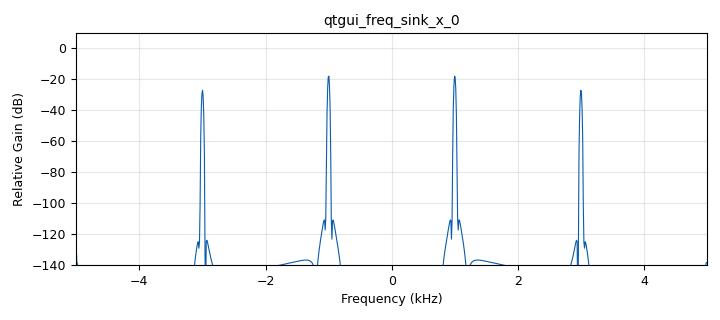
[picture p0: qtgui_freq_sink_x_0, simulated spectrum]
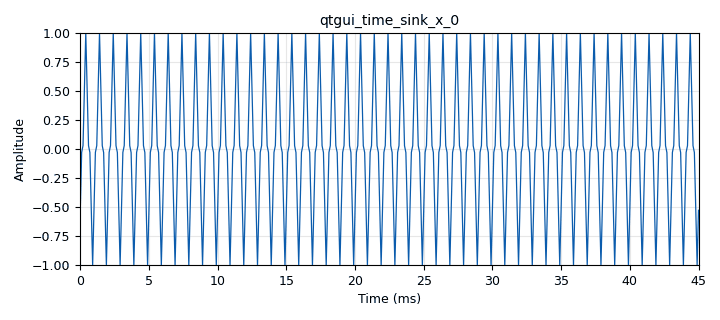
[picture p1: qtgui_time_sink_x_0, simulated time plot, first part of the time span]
options:
  parameters:
    author: Over_amaya_angie_chaparro_L1C_G4
    generate_options: qt_gui
    id: lab_p2_6
    output_language: python
    title: lab1_p2_6
  states: {}

blocks:
- name: freq_a
  id: variable_qtgui_range
  parameters:
    label: frequency_yA
    start: '1000'
    step: '1000'
    stop: '40000'
    value: '1000'
  states: {}
- name: freq_b
  id: variable_qtgui_range
  parameters:
    label: frequency_yB
    start: '1000'
    step: '1000'
    stop: '40000'
    value: '1000'
  states: {}
- name: freq_c
  id: variable_qtgui_range
  parameters:
    label: frequency_yC
    start: '1000'
    step: '1000'
    stop: '40000'
    value: '1000'
  states: {}
- name: samp_rate
  id: variable_qtgui_range
  parameters:
    label: frecuencia de muestreo
    start: '1000'
    step: '1000'
    stop: '80000'
    value: '10000'
  states: {}
- name: analog_sig_source_x_0
  id: analog_sig_source_x
  parameters:
    amp: '1'
    freq: freq_b
    offset: '0'
    phase: '0'
    samp_rate: samp_rate
    type: float
    waveform: analog.GR_COS_WAVE
  states: {}
- name: analog_sig_source_x_1
  id: analog_sig_source_x
  parameters:
    amp: '1'
    freq: freq_c
    offset: '0'
    phase: '0'
    samp_rate: samp_rate
    type: float
    waveform: analog.GR_COS_WAVE
  states: {}
- name: analog_sig_source_x_2
  id: analog_sig_source_x
  parameters:
    amp: '1'
    freq: freq_a
    offset: '0'
    phase: '0'
    samp_rate: samp_rate
    type: float
    waveform: analog.GR_COS_WAVE
  states: {}
- name: blocks_multiply_xx_0
  id: blocks_multiply_xx
  parameters:
    num_inputs: '3'
    type: float
  states: {}
- name: blocks_throttle_0
  id: blocks_throttle
  parameters:
    samples_per_second: samp_rate
    type: float
  states: {}
- name: qtgui_freq_sink_x_0
  id: qtgui_freq_sink_x
  parameters:
    bw: samp_rate
    fc: '0'
    fftsize: '1024'
    type: float
  states: {}
- name: qtgui_time_sink_x_0
  id: qtgui_time_sink_x
  parameters:
    size: '1024'
    srate: samp_rate
    type: float
  states: {}

connections:
- [analog_sig_source_x_0, '0', blocks_multiply_xx_0, '1']
- [analog_sig_source_x_1, '0', blocks_multiply_xx_0, '2']
- [analog_sig_source_x_2, '0', blocks_multiply_xx_0, '0']
- [blocks_multiply_xx_0, '0', blocks_throttle_0, '0']
- [blocks_throttle_0, '0', qtgui_freq_sink_x_0, '0']
- [blocks_throttle_0, '0', qtgui_time_sink_x_0, '0']

metadata:
  file_format: 1
